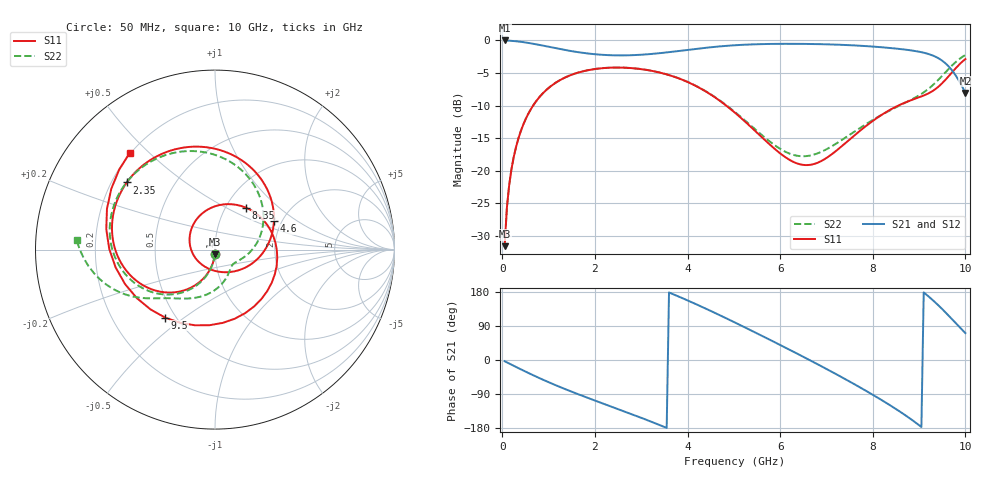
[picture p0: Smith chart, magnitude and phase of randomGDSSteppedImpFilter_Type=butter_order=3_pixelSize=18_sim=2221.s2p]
! freq	dB(S11)	phase(S11)	dB(S12)	phase(S12)
!  dB(S21)	phase(S21)	dB(S22)	phase(S22)
!S-par simulation data
#  GHz  S  DB  R 50
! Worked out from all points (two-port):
!   200 points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, 50 MHz to 10 GHz, reference 50 ohm
!   highest |S21| = -0.02 dB at 50 MHz (marker M1); lowest = -8.1 dB at 10 GHz (marker M2)
!   |S21| within 3 dB of the highest: start of sweep to 9.478 GHz
!   lowest |S11| = -31.6 dB at 50 MHz (marker M3), VSWR 1.05, Z = 49.9 - j2.64 ohm
!   |S11| at or under -10 dB: start of sweep to 666.2 MHz; 4.834 GHz to 8.551 GHz (3.717 GHz wide, 55.5 % of centre)
!   |S22| runs from -31.6 to -2.2 dB; largest |S21 - S12| = 0
!   S11 on the Smith chart (normalised r, x): 50 MHz: 1.00, -0.05; 2.35 GHz: 0.26, +0.32; 4.6 GHz: 1.82, +0.66; 8.35 GHz: 1.24, +0.63; 9.5 GHz: 0.44, -0.43; 10 GHz: 0.20, +0.44
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0.05  -31.56 -91.6  -0.02 -3.2  -0.02 -3.2  -31.56 -91.5
0.2  -19.67 -102.7  -0.07 -12.4  -0.07 -12.4  -19.67 -102.1
0.5  -12.15 -121.8  -0.32 -30.5  -0.32 -30.5  -12.14 -120.2
1.05  -7.01 -153.4  -1.05 -61.2  -1.05 -61.2  -7.01 -150.0
1.75  -4.73 171.1  -1.93 -95.5  -1.93 -95.5  -4.73 176.9
2.35  -4.18 142.7  -2.28 -122.8  -2.28 -122.8  -4.18 150.8
3.4  -4.94 92.0  -1.96 -171.8  -1.96 -171.8  -4.93 104.4
4  -6.38 60.1  -1.47 157.3  -1.47 157.3  -6.36 75.5
4.6  -8.78 25.6  -0.99 123.8  -0.99 123.8  -8.73 44.5
5.05  -11.25 -1.7  -0.74 97.4  -0.74 97.4  -11.14 20.9
5.8  -16.13 -52.2  -0.55 52.0  -0.55 52.0  -15.65 -15.5
6.25  -18.51 -90.2  -0.53 24.2  -0.53 24.2  -17.49 -32.6
6.7  -19.02 -136.6  -0.56 -4.2  -0.56 -4.2  -17.58 -46.9
7.15  -17.27 175.2  -0.64 -33.4  -0.64 -33.4  -16.09 -62.5
7.6  -14.60 129.8  -0.77 -63.7  -0.77 -63.7  -14.01 -80.4
8  -12.35 90.1  -0.95 -91.7  -0.95 -91.7  -12.21 -97.2
8.35  -10.74 53.6  -1.16 -117.7  -1.16 -117.7  -10.82 -111.6
9  -8.73 -30.1  -1.74 -172.0  -1.74 -172.0  -8.44 -134.4
9.3  -7.73 -84.0  -2.34 157.5  -2.34 157.5  -6.84 -143.3
9.5  -6.56 -126.2  -3.12 134.3  -3.12 134.3  -5.42 -151.1
9.75  -4.60 179.7  -4.96 102.7  -4.96 102.7  -3.59 -165.4
10  -2.87 131.2  -8.09 71.1  -8.09 71.1  -2.25 176.2
